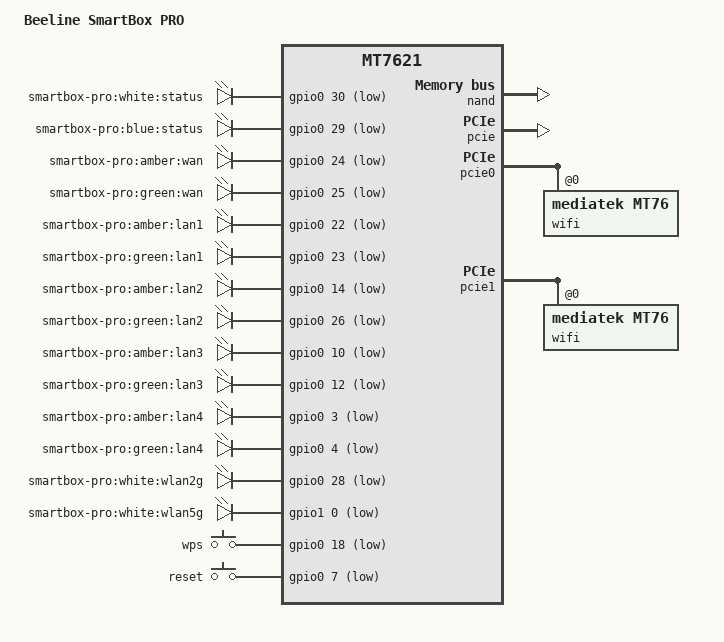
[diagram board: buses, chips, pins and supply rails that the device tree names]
// SPDX-License-Identifier: GPL-2.0-or-later OR MIT
/dts-v1/;

#include "mt7621.dtsi"

#include <dt-bindings/gpio/gpio.h>
#include <dt-bindings/input/input.h>

/ {
	compatible = "beeline,smartbox-pro", "mediatek,mt7621-soc";
	model = "Beeline SmartBox PRO";

	aliases {
		led-boot = &led_ring_white;
		led-failsafe = &led_ring_white;
		led-running = &led_ring_blue;
		led-upgrade = &led_ring_blue;
	};

	chosen {
		bootargs = "console=ttyS0,115200n8";
	};

	leds {
		compatible = "gpio-leds";

		led_ring_white: white_status {
			label = "smartbox-pro:white:status";
			gpios = <&gpio0 30 GPIO_ACTIVE_LOW>;
		};

		led_ring_blue: blue_status {
			label = "smartbox-pro:blue:status";
			gpios = <&gpio0 29 GPIO_ACTIVE_LOW>;
		};

		led_wan_amber: wan_amber {
			label = "smartbox-pro:amber:wan";
			gpios = <&gpio0 24 GPIO_ACTIVE_LOW>;
		};
		
		led_wan_green: wan_gren {
			label = "smartbox-pro:green:wan";
                        gpios = <&gpio0 25 GPIO_ACTIVE_LOW>;
                };
		
		led_lan1_amber: lan1_amber {
			label = "smartbox-pro:amber:lan1";
			gpios = <&gpio0 22 GPIO_ACTIVE_LOW>;
		};

		led_lan1_green: lan1_green {
			label = "smartbox-pro:green:lan1";
			gpios = <&gpio0 23 GPIO_ACTIVE_LOW>;
		};
		
		led_lan2_amber: lan2_amber {
			label = "smartbox-pro:amber:lan2";
			gpios = <&gpio0 14 GPIO_ACTIVE_LOW>;
		};

		led_lan2_green: lan2_green {
			label = "smartbox-pro:green:lan2";
			gpios = <&gpio0 26 GPIO_ACTIVE_LOW>;
		};

		led_lan3_amber: lan3_amber {
			label = "smartbox-pro:amber:lan3";
			gpios = <&gpio0 10 GPIO_ACTIVE_LOW>;
		};

		led_lan3_green: lan3_green {
			label = "smartbox-pro:green:lan3";
			gpios = <&gpio0 12 GPIO_ACTIVE_LOW>;
		};

		led_lan4_amber: lan4_amber {
			label = "smartbox-pro:amber:lan4";
			gpios = <&gpio0 3 GPIO_ACTIVE_LOW>;
		};

		led_lan4_green: lan4_green {
			label = "smartbox-pro:green:lan4";
			gpios = <&gpio0 4 GPIO_ACTIVE_LOW>;
		};

		led_wlan2g: wlan2g {
			label = "smartbox-pro:white:wlan2g";
			gpios = <&gpio0 28 GPIO_ACTIVE_LOW>;
			linux,default-trigger = "phy1tpt";
		};

		led_wlan5g: wlan5g {
			label = "smartbox-pro:white:wlan5g";
			gpios = <&gpio1 0 GPIO_ACTIVE_LOW>;
			linux,default-trigger = "phy0tpt";
		};
	};


	keys {
		compatible = "gpio-keys";

		wps {
			label = "wps";
			gpios = <&gpio0 18 GPIO_ACTIVE_LOW>;
			linux,code = <KEY_WPS_BUTTON>;
		};

		reset {
			label = "reset";
			gpios = <&gpio0 7 GPIO_ACTIVE_LOW>;
			linux,code = <KEY_RESTART>;
		};
	};

};

&nand {
	status = "okay";

	partitions {
		compatible = "fixed-partitions";
		#address-cells = <1>;
		#size-cells = <1>;

		partition@0 {
			label = "Bootloader";
			reg = <0x0 0x80000>;
			read-only;
		};

		partition@80000 {
			label = "Config";
			reg = <0x80000 0x40000>;
		};

		partition@c0000 {
			label = "Bdata";
			reg = <0xc0000 0x40000>;
			read-only;
		};

		factory: partition@100000 {
			label = "factory";
			reg = <0x100000 0x40000>;
			read-only;
		};

		partition@140000 {
			label = "crash";
			reg = <0x140000 0x40000>;
		};

		partition@180000 {
			label = "crash_syslog";
			reg = <0x180000 0x40000>;
		};

		partition@1c0000 {
			label = "reserved0";
			reg = <0x1c0000 0x40000>;
			read-only;
		};

		/* We not keep stock original firmware (kernel0) here */
		partition@200000 {
			label = "kernel_stock";
			reg = <0x200000 0x400000>;
		};

		partition@600000 {
			label = "kernel";
			reg = <0x600000 0x400000>;
		};

		partition@a00000 {
			label = "ubi";
			reg = <0xa00000 0xf580000>;
		};
	};
};

&gpio1 {
	status = "okay";
};

&gpio2 {
	status = "okay";
};

&pcie {
	status = "okay";
};

&pcie0 {
	wifi@0,0 {
		compatible = "mediatek,mt76";
		reg = <0x0000 0 0 0 0>;
		mediatek,mtd-eeprom = <&factory 0x8000>;
		mtd-mac-address = <&factory 0x1000>;
		mtd-mac-address-increment = <3>;
		ieee80211-freq-limit = <5000000 6000000>;
	};
};

&pcie1 {
	wifi@0,0 {
		compatible = "mediatek,mt76";
		reg = <0x0000 0 0 0 0>;
		mediatek,mtd-eeprom = <&factory 0x0000>;
		mtd-mac-address = <&factory 0x1000>;
		mtd-mac-address-increment = <2>;
		ieee80211-freq-limit = <2400000 2500000>;
	};
};

&ethernet {
	mtd-mac-address = <&factory 0x1000>;
};


&pinctrl {
	state_default: pinctrl0 {
		gpio {
			ralink,group = "jtag", "uart2", "uart3", "wdt";
			ralink,function = "gpio";
		};
	};
};

